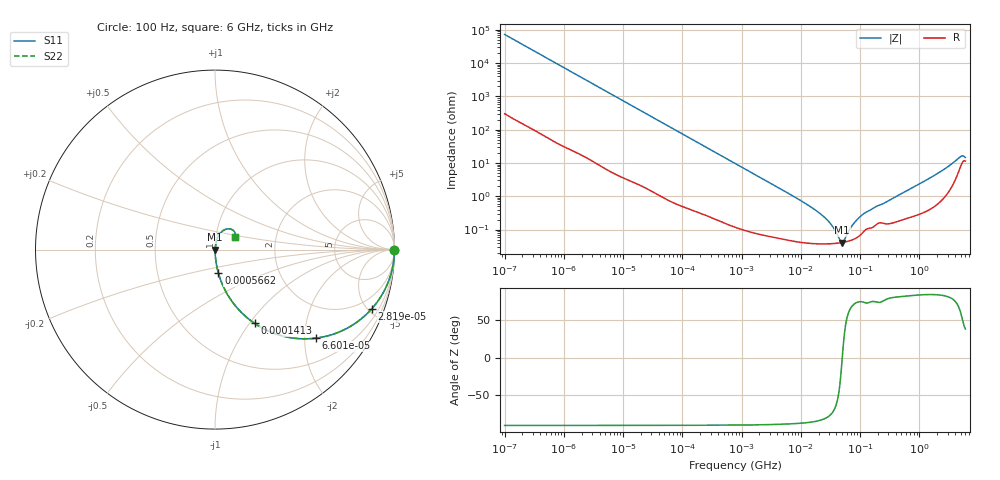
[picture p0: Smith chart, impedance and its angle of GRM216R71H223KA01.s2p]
!Murata Part Number: GRM216R71H223KA01
!These Parameters are Measured in Series Mode Connection
!Data Generated on Mar 30, 2021
!  o--ll--o
!Port1  Port2
!  o------o
!Operation Temp=25[degC], DC Bias Voltage=0[V]
!Freq. Start=100[Hz] Stop=6[GHz] 401[Steps]
# Hz S RI R 50
!Freq.(Hz) S11(Real) S11(Imag) S21(Real) S21(Imag) S12(Real) S12(Imag) S22(Real) S22(Imag)
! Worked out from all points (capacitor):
!   401 points, 100 Hz to 6 GHz, reference 50 ohm
!   read as one part in series: C = 21.7 nF near 109 Hz
!   lowest |Z| = 40.7 mohm at 49.83 MHz (marker M1)
!   series resonance near 50.08 MHz, so ESL is about 470 pH
!   S11 on the Smith chart (normalised r, x): 100 Hz: open; 28.19 kHz: 1.03, -5.28; 66 kHz: 1.01, -2.26; 141.3 kHz: 1.01, -1.06; 566.2 kHz: 1.00, -0.27; 6 GHz: 1.23, +0.18
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100  1 -0.00137  7.5e-06 0.00137  7.5e-06 0.00137  1 -0.00137
2008  0.9991 -0.0272  0.000866 0.0272  0.000866 0.0272  0.9991 -0.0272
8801  0.9856 -0.117  0.0144 0.117  0.0144 0.117  0.9856 -0.117
28191  0.873 -0.3301  0.127 0.3301  0.127 0.3301  0.873 -0.3301
40335  0.772 -0.4167  0.228 0.4167  0.228 0.4167  0.772 -0.4167
66005  0.5606 -0.4933  0.4394 0.4933  0.4394 0.4933  0.5606 -0.4933
141303  0.2206 -0.4109  0.7794 0.4109  0.7794 0.4109  0.2206 -0.4109
252896  0.0829 -0.2713  0.9171 0.2713  0.9171 0.2713  0.0829 -0.2713
566185  0.0188 -0.1304  0.9812 0.1304  0.9812 0.1304  0.0188 -0.1304
774597  0.0105 -0.0963  0.9895 0.0963  0.9895 0.0963  0.0105 -0.0963
1.555665e7  0.000398 -0.00447  0.9996 0.00447  0.9996 0.00447  0.000398 -0.00447
2.911731e7  0.000374 -0.00175  0.9996 0.00175  0.9996 0.00175  0.000374 -0.00175
3.64232e7  0.000381 -0.000999  0.9996 0.000999  0.9996 0.000999  0.000381 -0.000999
4.556224e7  0.000396 -0.000292  0.9996 0.000292  0.9996 0.000292  0.000396 -0.000292
4.983056e7  0.000406 -1.5e-05  0.9996 1.5e-05  0.9996 1.5e-05  0.000406 -1.5e-05
5.449875e7  0.000419 0.000262  0.9996 -0.000262  0.9996 -0.000262  0.000419 0.000262
7.797396e7  0.00051 0.00142  0.9995 -0.00142  0.9995 -0.00142  0.00051 0.00142
1.066761e8  0.000749 0.00258  0.9993 -0.00258  0.9993 -0.00258  0.000749 0.00258
3.124326e8  0.00155 0.00742  0.9985 -0.00742  0.9985 -0.00742  0.00155 0.00742
1.873145e9  0.00704 0.0436  0.993 -0.0436  0.993 -0.0436  0.00704 0.0436
4.796499e9  0.0766 0.1159  0.9234 -0.1159  0.9234 -0.1159  0.0766 0.1159
6e9  0.1088 0.0717  0.8912 -0.0717  0.8912 -0.0717  0.1088 0.0717
